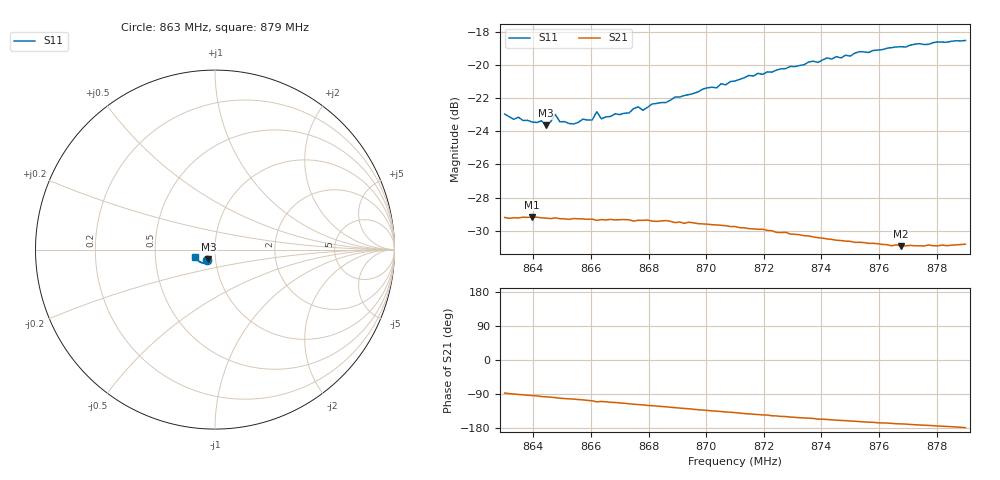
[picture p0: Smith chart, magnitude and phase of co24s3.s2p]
# HZ S RI R 50
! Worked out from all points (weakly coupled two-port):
!   101 points, 863 MHz to 879 MHz, reference 50 ohm
!   highest |S21| = -29.17 dB at 863.96 MHz (marker M1); lowest = -30.9 dB at 876.76 MHz (marker M2)
!   lowest |S11| = -23.7 dB at 864.44 MHz (marker M3), VSWR 1.14, Z = 46.2 - j5.07 ohm
!   |S11| at or under -10 dB: start of sweep to end of sweep
!   S12 and S22 are empty: the file has one direction only
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8.63e8  -0.0442 -0.0556  0.00162 -0.0347  0 0  0 0
8.6332e8  -0.0412 -0.0547  0.00025 -0.0346  0 0  0 0
8.6348e8  -0.0426 -0.0549  -0.000583 -0.0346  0 0  0 0
8.6396e8  -0.0395 -0.0543  -0.00228 -0.0347  0 0  0 0
8.6428e8  -0.0379 -0.0562  -0.00389 -0.0344  0 0  0 0
8.6444e8  -0.0365 -0.0546  -0.00425 -0.0343  0 0  0 0
8.6476e8  -0.0419 -0.0572  -0.00561 -0.0341  0 0  0 0
8.6492e8  -0.0365 -0.0566  -0.00644 -0.0338  0 0  0 0
8.6524e8  -0.0351 -0.0565  -0.00748 -0.0334  0 0  0 0
8.6572e8  -0.0347 -0.0591  -0.00905 -0.0331  0 0  0 0
8.6604e8  -0.0339 -0.0591  -0.0104 -0.0327  0 0  0 0
8.662e8  -0.0374 -0.0618  -0.0118 -0.0319  0 0  0 0
8.6636e8  -0.0343 -0.0596  -0.0114 -0.0323  0 0  0 0
8.6732e8  -0.0347 -0.0626  -0.0147 -0.0308  0 0  0 0
8.6764e8  -0.0355 -0.0657  -0.0158 -0.0301  0 0  0 0
8.678e8  -0.0341 -0.0644  -0.0162 -0.0299  0 0  0 0
8.6844e8  -0.0371 -0.0674  -0.0182 -0.0285  0 0  0 0
8.71e8  -0.0488 -0.0748  -0.0245 -0.0214  0 0  0 0
8.7372e8  -0.0696 -0.0752  -0.0273 -0.0132  0 0  0 0
8.7644e8  -0.0944 -0.0614  -0.0278 -0.00631  0 0  0 0
8.7676e8  -0.0965 -0.0594  -0.0279 -0.00562  0 0  0 0
8.79e8  -0.1118 -0.0388  -0.0288 -0.000731  0 0  0 0
